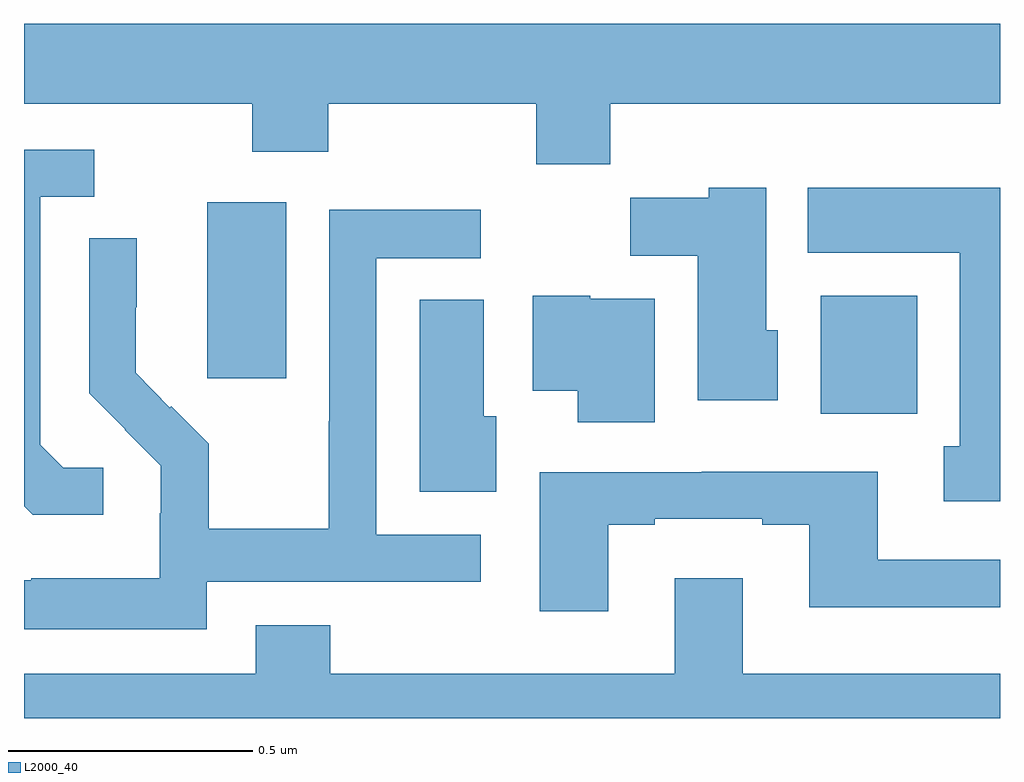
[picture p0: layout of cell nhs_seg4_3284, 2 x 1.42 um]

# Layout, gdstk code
import gdstk
lib = gdstk.Library(unit=1e-6, precision=1e-09)
def R(c, l, rs):  # rectangles x0, y0, x1, y1
    for r in rs: c.add(gdstk.rectangle(r[:2], r[2:], *l))
def P(c, l, *ps):  # polygons
    for p in ps: c.add(gdstk.Polygon(p, *l))
L2000_40 = (2000, 40)

nhs_seg4_3284 = lib.new_cell('nhs_seg4_3284')
R(nhs_seg4_3284, L2000_40, [(152.633,789.524,152.83,789.766), (151.376,789.597,151.537,789.958)])
P(nhs_seg4_3284, L2000_40, [(152.201,790.16),(153,790.16),(153,790.324),(151,790.324),(151,790.16),(151.468,790.16),(151.468,790.061),(151.623,790.061),(151.623,790.16),(152.05,790.16),(152.05,790.036),(152.201,790.036)],
  [(151.162,789.414),(151.08,789.414),(151.033,789.461),(151.033,789.969),(151.144,789.969),(151.144,790.065),(151,790.065),(151,789.335),(151.018,789.317),(151.162,789.317)],
  [(152.545,789.696),(152.521,789.696),(152.521,789.988),(152.403,789.988),(152.403,789.967),(152.242,789.967),(152.242,789.848),(152.381,789.848),(152.381,789.552),(152.545,789.552)],
  [(153,789.988),(152.606,789.988),(152.606,789.854),(152.918,789.854),(152.918,789.458),(152.885,789.458),(152.885,789.345),(153,789.345)],
  [(151.374,789.18),(151.936,789.18),(151.936,789.276),(151.722,789.276),(151.722,789.843),(151.936,789.843),(151.936,789.942),(151.626,789.942),(151.626,789.509),(151.624,789.509),(151.624,789.289),(151.379,789.289),(151.379,789.463),(151.302,789.54),(151.299,789.537),(151.229,789.608),(151.229,789.743),(151.231,789.743),(151.231,789.884),(151.134,789.884),(151.134,789.566),(151.207,789.493),(151.206,789.492),(151.28,789.418),(151.28,789.321),(151.278,789.321),(151.278,789.187),(151.015,789.187),(151.015,789.183),(151,789.183),(151,789.083),(151.374,789.083)],
  [(152.293,789.76),(152.16,789.76),(152.16,789.766),(152.043,789.766),(152.043,789.572),(152.135,789.572),(152.135,789.507),(152.293,789.507)],
  [(151.968,789.519),(151.942,789.519),(151.942,789.758),(151.811,789.758),(151.811,789.365),(151.968,789.365)],
  [(152.197,789.297),(152.293,789.297),(152.293,789.309),(152.513,789.309),(152.513,789.297),(152.609,789.297),(152.609,789.128),(153,789.128),(153,789.225),(152.749,789.225),(152.749,789.406),(152.389,789.406),(152.389,789.405),(152.057,789.405),(152.057,789.12),(152.197,789.12)],
  [(153,788.992),(152.473,788.992),(152.473,789.187),(152.333,789.187),(152.333,788.992),(151.628,788.992),(151.628,789.091),(151.475,789.091),(151.475,788.992),(151,788.992),(151,788.9),(153,788.9)])

lib.write_gds('nhs_seg4_3284.gds')
